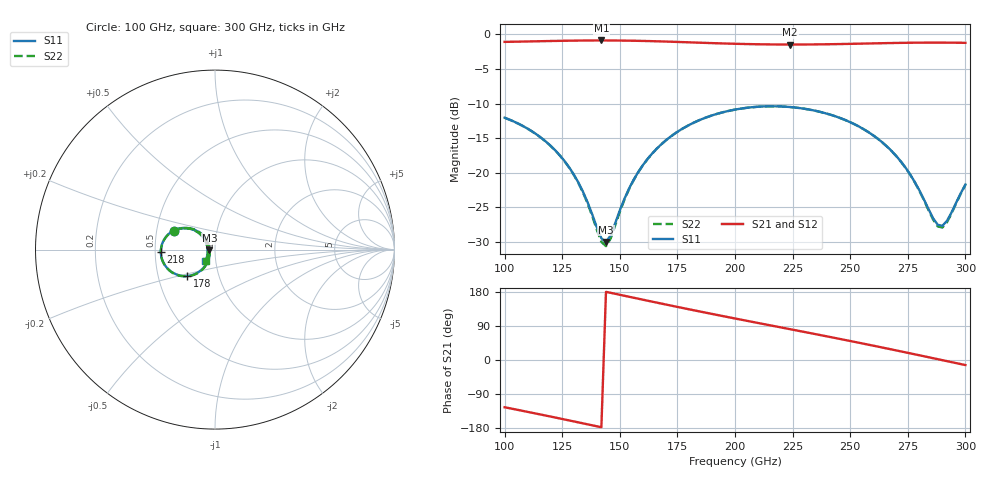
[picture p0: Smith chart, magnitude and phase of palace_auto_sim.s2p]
#  GHZ S DB R 50
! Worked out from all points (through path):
!   101 points, 100 GHz to 300 GHz, reference 50 ohm
!   highest |S21| = -0.88 dB at 142 GHz (marker M1); lowest = -1.5 dB at 224 GHz (marker M2)
!   group delay of S21, straight-line fit = 3.43 ps
!   lowest |S11| = -30.0 dB at 144 GHz (marker M3), VSWR 1.07, Z = 47 - j0.407 ohm
!   |S11| at or under -10 dB: start of sweep to end of sweep
!   |S22| runs from -30.6 to -10.4 dB; largest |S21 - S12| = 1e-13
!   S11 on the Smith chart (normalised r, x): 100 GHz: 0.62, +0.14; 178 GHz: 0.71, -0.22; 218 GHz: 0.54, -0.01; 300 GHz: 0.89, -0.11
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100  -12.04 155.4  -1.08 -124.7  -1.08 -124.7  -12.05 155.3
120  -16.11 135.7  -0.96 -149.3  -0.96 -149.3  -16.13 135.2
128  -19.21 131.0  -0.91 -159.5  -0.91 -159.5  -19.25 130.2
134  -22.73 132.3  -0.89 -167.1  -0.89 -167.1  -22.83 131.1
142  -29.46 166.4  -0.88 -177.5  -0.88 -177.5  -30.00 165.3
144  -30.00 -172.1  -0.88 179.9  -0.88 179.9  -30.61 -171.5
146  -29.05 -151.8  -0.88 177.3  -0.88 177.3  -29.53 -149.8
152  -23.77 -125.0  -0.90 169.5  -0.90 169.5  -23.90 -123.0
156  -21.01 -121.6  -0.92 164.3  -0.92 164.3  -21.08 -120.1
168  -15.89 -127.0  -1.02 148.9  -1.02 148.9  -15.90 -126.0
178  -13.47 -136.3  -1.13 136.3  -1.13 136.3  -13.48 -135.4
200  -10.87 -159.1  -1.36 109.6  -1.36 109.6  -10.87 -158.5
218  -10.40 -177.9  -1.46 88.3  -1.46 88.3  -10.40 -177.4
224  -10.50 175.8  -1.47 81.2  -1.47 81.2  -10.50 176.4
234  -10.98 165.5  -1.45 69.4  -1.45 69.4  -10.98 166.0
252  -13.01 147.7  -1.36 47.7  -1.36 47.7  -13.01 148.1
268  -16.86 135.1  -1.25 27.8  -1.25 27.8  -16.88 135.4
276  -20.23 133.9  -1.21 17.6  -1.21 17.6  -20.27 134.0
288  -27.52 172.1  -1.19 2.2  -1.19 2.2  -27.76 172.5
290  -27.67 -171.7  -1.19 -0.4  -1.19 -0.4  -27.91 -170.8
292  -26.96 -156.8  -1.19 -3.0  -1.19 -3.0  -27.16 -155.4
300  -21.70 -130.1  -1.22 -13.4  -1.22 -13.4  -21.75 -128.6
